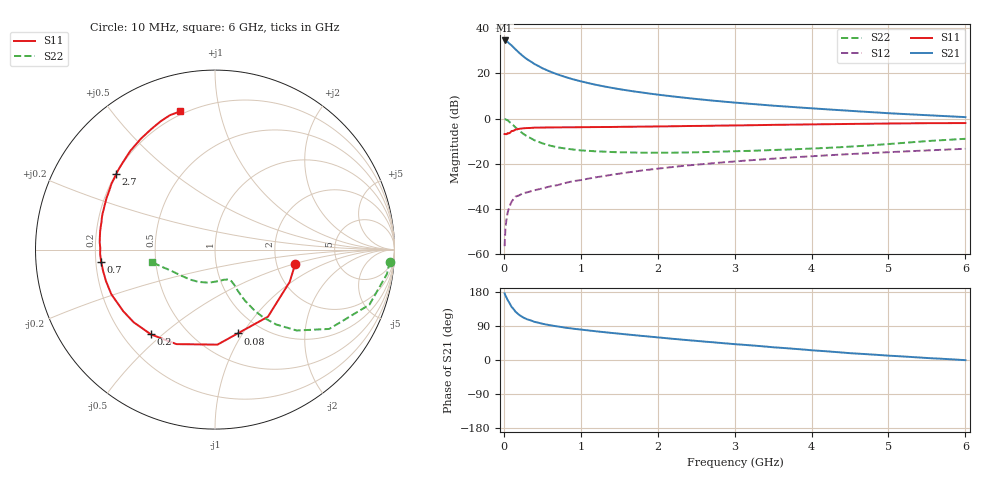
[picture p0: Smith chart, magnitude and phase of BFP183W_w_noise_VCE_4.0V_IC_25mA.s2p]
! Infineon Technologies  Discrete & RF Semiconductors
! BFP183W
! VCE =  4.0 V,  IC =  25 mA
! Common Emitter S-Parameters:  Jan 2017
# GHz  S  MA  R  50
!  f  S11  S21  S12  S22
! GHz  MAG  ANG  MAG  ANG  MAG  ANG  MAG  ANG
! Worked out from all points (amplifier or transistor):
!   77 points, 10 MHz to 6 GHz, reference 50 ohm
!   highest |S21| = 34.6 dB at 10 MHz (marker M1)
!   |S21| within 3 dB of that: start of sweep to 124.6 MHz
!   unconditionally stable (mu >= 1): 1.007 GHz to 3.452 GHz
!   at 130 MHz: K = 0.27, MSG = 33.4 dB, |S12| = -35.4 dB
!   at 2.2 GHz: K = 1.06, MAG = 14.1 dB, |S12| = -21.4 dB
!   at 6 GHz: K = 0.87, MSG = 7.0 dB, |S12| = -13.4 dB
!   lowest NFmin = 1.29 dB at 450 MHz
!   S11 on the Smith chart (normalised r, x): 10 MHz: 2.54, -0.52; 80 MHz: 0.78, -0.95; 200 MHz: 0.31, -0.46; 700 MHz: 0.22, -0.05; 2.7 GHz: 0.20, +0.33; 6 GHz: 0.18, +0.76
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0.01  0.454 -10.4  53.4 175.9  0.0015 84.7  0.9765 -3.9
0.02  0.4533 -23.4  52.87 170.6  0.0035 93.5  0.9676 -8.1
0.05  0.4763 -51.7  49.38 157.9  0.0084 73.0  0.9132 -19.7
0.08  0.484 -74.9  44.22 148.0  0.0119 64.2  0.8229 -28.2
0.1  0.5297 -88.5  41.66 140.2  0.0144 60.8  0.7746 -34.8
0.15  0.5688 -112.2  34.25 127.8  0.0187 53.2  0.6407 -44.7
0.2  0.5921 -127.1  28.35 118.9  0.02 49.8  0.5396 -50.7
0.25  0.6077 -138.2  23.97 112.4  0.0223 46.1  0.4628 -54.6
0.3  0.6157 -146.1  20.59 107.6  0.0232 46.4  0.405 -57.0
0.4  0.629 -156.7  16.03 100.6  0.0259 47.5  0.329 -59.6
0.5  0.6323 -164.0  13 95.7  0.0284 48.7  0.2831 -60.6
0.6  0.635 -169.5  10.96 91.7  0.0315 49.9  0.2518 -61.2
0.7  0.6374 -173.7  9.436 88.5  0.0337 52.8  0.2303 -61.2
0.9  0.6393 179.2  7.375 82.7  0.041 56.3  0.2062 -62.2
1.1  0.6454 173.6  6.073 78.0  0.0469 58.4  0.193 -63.1
1.5  0.6544 164.5  4.472 69.5  0.0603 59.6  0.1793 -67.9
2.1  0.6717 152.6  3.228 57.8  0.0813 60.0  0.1753 -80.2
2.7  0.6927 142.6  2.509 47.1  0.1019 57.9  0.1828 -95.9
3.1  0.7071 136.4  2.185 40.4  0.1157 55.6  0.1907 -106.5
4.1  0.7456 122.6  1.641 24.3  0.1498 50.2  0.2204 -132.5
5.1  0.7786 112.1  1.285 10.4  0.1833 43.9  0.2809 -156.5
6  0.7942 104.2  1.075 -0.4  0.2146 38.0  0.3562 -168.7
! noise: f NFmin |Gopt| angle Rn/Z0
0.45  1.29  0.25  177  0.1
0.9  1.32  0.28  180  0.09
1.9  1.8  0.43  -158  0.09
2.4  2.04  0.48  -154  0.13
